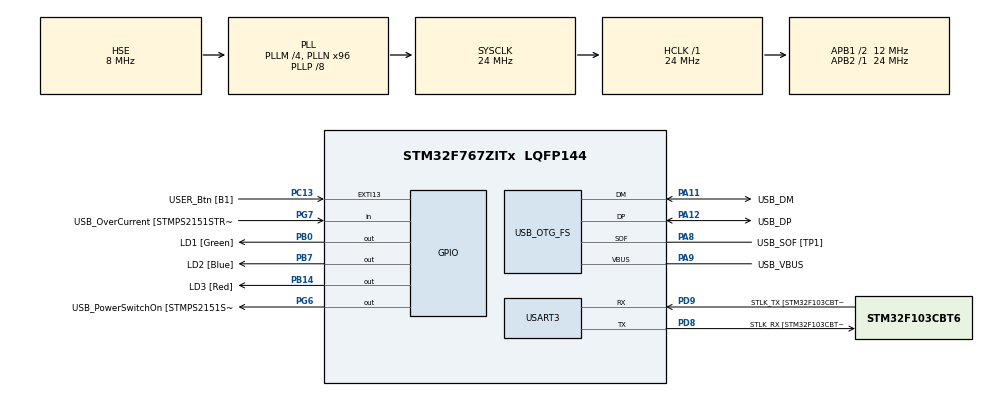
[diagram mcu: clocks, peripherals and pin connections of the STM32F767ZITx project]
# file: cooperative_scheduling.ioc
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Mcu.Family=STM32F7
Mcu.Name=STM32F767ZITx
Mcu.Package=LQFP144
NVIC.PriorityGroup=NVIC_PRIORITYGROUP_4
NVIC.TIM2_IRQn=true\:0\:0\:false\:false\:true\:true\:true\:true
PA1.GPIO_Label=RMII_REF_CLK [LAN8742A-CZ-TR_REFCLK0]
PA1.Signal=ETH_REF_CLK
PA10.GPIO_Label=USB_ID
PA10.Signal=USB_OTG_FS_ID
PA11.GPIO_Label=USB_DM
PA11.Mode=Device_Only
PA11.Signal=USB_OTG_FS_DM
PA12.GPIO_Label=USB_DP
PA12.Mode=Device_Only
PA12.Signal=USB_OTG_FS_DP
PA13.GPIO_Label=TMS
PA13.Mode=Serial_Wire
PA13.Signal=SYS_JTMS-SWDIO
PA14.GPIO_Label=TCK
PA14.Mode=Serial_Wire
PA14.Signal=SYS_JTCK-SWCLK
PA2.GPIO_Label=RMII_MDIO [LAN8742A-CZ-TR_MDIO]
PA2.Signal=ETH_MDIO
PA7.GPIO_Label=RMII_CRS_DV [LAN8742A-CZ-TR_CRS_DV]
PA7.Signal=ETH_CRS_DV
PA8.GPIO_Label=USB_SOF [TP1]
PA8.Mode=Activate_SOF_FS
PA8.Signal=USB_OTG_FS_SOF
PA9.GPIO_Label=USB_VBUS
PA9.Mode=Activate_VBUS
PA9.Signal=USB_OTG_FS_VBUS
PB0.GPIO_Label=LD1 [Green]
PB0.Signal=GPIO_Output
PB13.GPIO_Label=RMII_TXD1 [LAN8742A-CZ-TR_TXD1]
PB13.Signal=ETH_TXD1
PB14.GPIO_Label=LD3 [Red]
PB14.Signal=GPIO_Output
PB3.GPIO_Label=SWO
PB3.Signal=SYS_JTDO-SWO
PB7.GPIO_Label=LD2 [Blue]
PB7.Signal=GPIO_Output
PC1.GPIO_Label=RMII_MDC [LAN8742A-CZ-TR_MDC]
PC1.Signal=ETH_MDC
PC13.GPIO_Label=USER_Btn [B1]
PC13.Signal=GPXTI13
PC14/OSC32_IN.Mode=LSE-External-Oscillator
PC14/OSC32_IN.Signal=RCC_OSC32_IN
PC15/OSC32_OUT.Mode=LSE-External-Oscillator
PC15/OSC32_OUT.Signal=RCC_OSC32_OUT
PC4.GPIO_Label=RMII_RXD0 [LAN8742A-CZ-TR_RXD0]
PC4.Signal=ETH_RXD0
PC5.GPIO_Label=RMII_RXD1 [LAN8742A-CZ-TR_RXD1]
PC5.Signal=ETH_RXD1
PD8.GPIO_Label=STLK_RX [STM32F103CBT6_PA3]
PD8.Mode=Asynchronous
PD8.Signal=USART3_TX
PD9.GPIO_Label=STLK_TX [STM32F103CBT6_PA2]
PD9.Mode=Asynchronous
PD9.Signal=USART3_RX
PG11.GPIO_Label=RMII_TX_EN [LAN8742A-CZ-TR_TXEN]
PG11.Signal=ETH_TX_EN
PG13.GPIO_Label=RMII_TXD0 [LAN8742A-CZ-TR_TXD0]
PG13.Signal=ETH_TXD0
PG6.GPIO_Label=USB_PowerSwitchOn [STMPS2151STR_EN]
PG6.Signal=GPIO_Output
PG7.GPIO_Label=USB_OverCurrent [STMPS2151STR_FAULT]
PG7.Signal=GPIO_Input
PH0/OSC_IN.GPIO_Label=MCO [STM32F103CBT6_PA8]
PH0/OSC_IN.Mode=HSE-External-Clock-Source
PH0/OSC_IN.Signal=RCC_OSC_IN
PH1/OSC_OUT.Mode=HSE-External-Clock-Source
PH1/OSC_OUT.Signal=RCC_OSC_OUT
ProjectManager.HeapSize=0x200
ProjectManager.StackSize=0x400
ProjectManager.TargetToolchain=STM32CubeIDE
RCC.48MHZClocksFreq_Value=24000000
RCC.AHBFreq_Value=24000000
RCC.APB1CLKDivider=RCC_HCLK_DIV2
RCC.APB1Freq_Value=12000000
RCC.APB1TimFreq_Value=24000000
RCC.APB2Freq_Value=24000000
RCC.APB2TimFreq_Value=24000000
RCC.CortexFreq_Value=24000000
RCC.HCLKFreq_Value=24000000
RCC.HSE_VALUE=8000000
RCC.HSI_VALUE=16000000
RCC.PLLM=4
RCC.PLLMUL=RCC_PLL_MUL9
RCC.PLLN=96
RCC.PLLP=RCC_PLLP_DIV8
RCC.PLLQ=4
RCC.PRESCALERUSB=RCC_USBCLKSOURCE_PLL_DIV1_5
RCC.SYSCLKFreq_VALUE=24000000
RCC.SYSCLKSource=RCC_SYSCLKSOURCE_PLLCLK
RCC.SYSCLKSourceVirtual=RCC_SYSCLKSOURCE_PLLCLK
RCC.USBFreq_Value=48000000
RCC.VCOOutputFreq_Value=192000000
TIM2.Period=10
TIM2.Prescaler=1200
USART3.VirtualMode-Asynchronous=VM_ASYNC
USB_OTG_FS.VirtualMode=Device_Only
VP_TIM2_VS_ClockSourceINT.Mode=Internal
board=NUCLEO-F767ZI

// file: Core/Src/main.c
/* USER CODE BEGIN Header */
/**
  ******************************************************************************
  * @file           : main.c
  * @brief          : Main program body
  ******************************************************************************
  * @attention
  *
  * Copyright (c) 2025 STMicroelectronics.
  * All rights reserved.
  *
  * This software is licensed under terms that can be found in the LICENSE file
  * in the root directory of this software component.
  * If no LICENSE file comes with this software, it is provided AS-IS.
  *
  ******************************************************************************
  */
/* USER CODE END Header */
#include "main.h"

/* USER CODE BEGIN Includes */
#include "stdio.h"
/* USER CODE END Includes */

TIM_HandleTypeDef htim2;

UART_HandleTypeDef huart3;

PCD_HandleTypeDef hpcd_USB_OTG_FS;

void SystemClock_Config(void);
static void MX_GPIO_Init(void);
static void MX_USART3_UART_Init(void);
static void MX_USB_OTG_FS_PCD_Init(void);
static void MX_TIM2_Init(void);

/* USER CODE BEGIN 0 */
int task1_elapsedTime;
int task2_elapsedTime;
int task3_elapsedTime;
char s_msg[50];
int msg_len;

/* USER CODE END 0 */

int main(void)
{

  /* MCU Configuration--------------------------------------------------------*/

  /* Reset of all peripherals, Initializes the Flash interface and the Systick. */
  HAL_Init();

  /* Configure the system clock */
  SystemClock_Config();

  /* Initialize all configured peripherals */
  MX_GPIO_Init();
  MX_USART3_UART_Init();
  MX_USB_OTG_FS_PCD_Init();
  MX_TIM2_Init();
  /* USER CODE BEGIN 2 */
  HAL_TIM_Base_Start_IT(&htim2);

  //Define tasks states
  enum state{
	  ready,
	  idle,
	  running
  };

  //Initialize tasks states
  enum state task1_state = ready;
  enum state task2_state = ready;
  enum state task3_state = ready;

  //Create task 1, toggle LED every 500ms

  int task1(int state){ //task returns state
	  switch (state){
	  case ready:
		  task1_elapsedTime = 0;
		  return idle;
	  case idle:
		  if (task1_elapsedTime >= 500){
			  return running;
		  }
		  return idle;
	  case running:
		  HAL_GPIO_TogglePin(GPIOB, GPIO_PIN_14);
		  return ready;
	  }
	  return 0;
  }

  //Create task 2, counts how many times a push button is pressed
  int button_counter = 0;

  int task2(int state){ //task returns state
	  switch (state){
	  case ready:
		  task2_elapsedTime = 0;
		  return idle;
	  case idle:
		  if (task2_elapsedTime >= 3000){
			  return running;
		  }
		  return idle;
	  case running:
		  if (task2_elapsedTime >= 3000){
			  button_counter = 0;
			  return ready;
		  }
	  }
	  return 0;
  }

  //Create task 3, sends message to terminal

  int task3(int state){ //task returns state
	  switch (state){
	  case ready:
		  task3_elapsedTime = 0;
		  return idle;
	  case idle:
		  if (task3_elapsedTime >= 1000){
			  return running;
		  }
		  return idle;
	  case running:
		  msg_len = sprintf(s_msg, "user button pressed %d times \r\n", button_counter);
		  HAL_UART_Transmit(&huart3, s_msg, msg_len, 100);
		  return ready;
	  }
	  return 0;
  }

  /* USER CODE END 2 */

  /* Infinite loop */
  /* USER CODE BEGIN WHILE */
  int button_state = 0;
  while (1)
  {
	  //while loop executes tasks as a cooperative scheduler and it selects task 1 as the highest priority task and task 3 as the lowest priority task
	  task1_state = task1(task1_state);
	  if (task1_state == idle) task2_state = task2(task2_state);
	  if (task1_state == idle && task2_state == idle) task3_state = task3(task3_state);

	  if (HAL_GPIO_ReadPin (GPIOC, GPIO_PIN_13) && button_state == 0){
		  button_state = 1;
	  }

	  if (HAL_GPIO_ReadPin (GPIOC, GPIO_PIN_13) == 0 && button_state == 1){
		  button_state = 0;
		  button_counter++;
	  }
    /* USER CODE END WHILE */

  }
}

void SystemClock_Config(void)
{
  RCC_OscInitTypeDef RCC_OscInitStruct = {0};
  RCC_ClkInitTypeDef RCC_ClkInitStruct = {0};

  /** Configure LSE Drive Capability
  */
  HAL_PWR_EnableBkUpAccess();

  /** Configure the main internal regulator output voltage
  */
  __HAL_RCC_PWR_CLK_ENABLE();
  __HAL_PWR_VOLTAGESCALING_CONFIG(PWR_REGULATOR_VOLTAGE_SCALE3);

  /** Initializes the RCC Oscillators according to the specified parameters
  * in the RCC_OscInitTypeDef structure.
  */
  RCC_OscInitStruct.OscillatorType = RCC_OSCILLATORTYPE_HSE;
  RCC_OscInitStruct.HSEState = RCC_HSE_BYPASS;
  RCC_OscInitStruct.PLL.PLLState = RCC_PLL_ON;
  RCC_OscInitStruct.PLL.PLLSource = RCC_PLLSOURCE_HSE;
  RCC_OscInitStruct.PLL.PLLM = 4;
  RCC_OscInitStruct.PLL.PLLN = 96;
  RCC_OscInitStruct.PLL.PLLP = RCC_PLLP_DIV8;
  RCC_OscInitStruct.PLL.PLLQ = 4;
  RCC_OscInitStruct.PLL.PLLR = 2;
  if (HAL_RCC_OscConfig(&RCC_OscInitStruct) != HAL_OK)
  {
    Error_Handler();
  }

  /** Initializes the CPU, AHB and APB buses clocks
  */
  RCC_ClkInitStruct.ClockType = RCC_CLOCKTYPE_HCLK|RCC_CLOCKTYPE_SYSCLK
                              |RCC_CLOCKTYPE_PCLK1|RCC_CLOCKTYPE_PCLK2;
  RCC_ClkInitStruct.SYSCLKSource = RCC_SYSCLKSOURCE_PLLCLK;
  RCC_ClkInitStruct.AHBCLKDivider = RCC_SYSCLK_DIV1;
  RCC_ClkInitStruct.APB1CLKDivider = RCC_HCLK_DIV2;
  RCC_ClkInitStruct.APB2CLKDivider = RCC_HCLK_DIV1;

  if (HAL_RCC_ClockConfig(&RCC_ClkInitStruct, FLASH_LATENCY_0) != HAL_OK)
  {
    Error_Handler();
  }
}

static void MX_TIM2_Init(void)
{

  TIM_ClockConfigTypeDef sClockSourceConfig = {0};
  TIM_MasterConfigTypeDef sMasterConfig = {0};

  htim2.Instance = TIM2;
  htim2.Init.Prescaler = 2400;
  htim2.Init.CounterMode = TIM_COUNTERMODE_UP;
  htim2.Init.Period = 10;
  htim2.Init.ClockDivision = TIM_CLOCKDIVISION_DIV1;
  htim2.Init.AutoReloadPreload = TIM_AUTORELOAD_PRELOAD_DISABLE;
  if (HAL_TIM_Base_Init(&htim2) != HAL_OK)
  {
    Error_Handler();
  }
  sClockSourceConfig.ClockSource = TIM_CLOCKSOURCE_INTERNAL;
  if (HAL_TIM_ConfigClockSource(&htim2, &sClockSourceConfig) != HAL_OK)
  {
    Error_Handler();
  }
  sMasterConfig.MasterOutputTrigger = TIM_TRGO_RESET;
  sMasterConfig.MasterSlaveMode = TIM_MASTERSLAVEMODE_DISABLE;
  if (HAL_TIMEx_MasterConfigSynchronization(&htim2, &sMasterConfig) != HAL_OK)
  {
    Error_Handler();
  }

}

static void MX_USART3_UART_Init(void)
{

  huart3.Instance = USART3;
  huart3.Init.BaudRate = 115200;
  huart3.Init.WordLength = UART_WORDLENGTH_8B;
  huart3.Init.StopBits = UART_STOPBITS_1;
  huart3.Init.Parity = UART_PARITY_NONE;
  huart3.Init.Mode = UART_MODE_TX_RX;
  huart3.Init.HwFlowCtl = UART_HWCONTROL_NONE;
  huart3.Init.OverSampling = UART_OVERSAMPLING_16;
  huart3.Init.OneBitSampling = UART_ONE_BIT_SAMPLE_DISABLE;
  huart3.AdvancedInit.AdvFeatureInit = UART_ADVFEATURE_NO_INIT;
  if (HAL_UART_Init(&huart3) != HAL_OK)
  {
    Error_Handler();
  }

}

static void MX_USB_OTG_FS_PCD_Init(void)
{

  hpcd_USB_OTG_FS.Instance = USB_OTG_FS;
  hpcd_USB_OTG_FS.Init.dev_endpoints = 6;
  hpcd_USB_OTG_FS.Init.speed = PCD_SPEED_FULL;
  hpcd_USB_OTG_FS.Init.dma_enable = DISABLE;
  hpcd_USB_OTG_FS.Init.phy_itface = PCD_PHY_EMBEDDED;
  hpcd_USB_OTG_FS.Init.Sof_enable = ENABLE;
  hpcd_USB_OTG_FS.Init.low_power_enable = DISABLE;
  hpcd_USB_OTG_FS.Init.lpm_enable = DISABLE;
  hpcd_USB_OTG_FS.Init.vbus_sensing_enable = ENABLE;
  hpcd_USB_OTG_FS.Init.use_dedicated_ep1 = DISABLE;
  if (HAL_PCD_Init(&hpcd_USB_OTG_FS) != HAL_OK)
  {
    Error_Handler();
  }

}

static void MX_GPIO_Init(void)
{
  GPIO_InitTypeDef GPIO_InitStruct = {0};

  /* GPIO Ports Clock Enable */
  __HAL_RCC_GPIOC_CLK_ENABLE();
  __HAL_RCC_GPIOH_CLK_ENABLE();
  __HAL_RCC_GPIOA_CLK_ENABLE();
  __HAL_RCC_GPIOB_CLK_ENABLE();
  __HAL_RCC_GPIOD_CLK_ENABLE();
  __HAL_RCC_GPIOG_CLK_ENABLE();

  /*Configure GPIO pin Output Level */
  HAL_GPIO_WritePin(GPIOB, LD1_Pin|LD3_Pin|LD2_Pin, GPIO_PIN_RESET);

  /*Configure GPIO pin Output Level */
  HAL_GPIO_WritePin(USB_PowerSwitchOn_GPIO_Port, USB_PowerSwitchOn_Pin, GPIO_PIN_RESET);

  /*Configure GPIO pin : USER_Btn_Pin */
  GPIO_InitStruct.Pin = USER_Btn_Pin;
  GPIO_InitStruct.Mode = GPIO_MODE_IT_RISING;
  GPIO_InitStruct.Pull = GPIO_NOPULL;
  HAL_GPIO_Init(USER_Btn_GPIO_Port, &GPIO_InitStruct);

  /*Configure GPIO pins : RMII_MDC_Pin RMII_RXD0_Pin RMII_RXD1_Pin */
  GPIO_InitStruct.Pin = RMII_MDC_Pin|RMII_RXD0_Pin|RMII_RXD1_Pin;
  GPIO_InitStruct.Mode = GPIO_MODE_AF_PP;
  GPIO_InitStruct.Pull = GPIO_NOPULL;
  GPIO_InitStruct.Speed = GPIO_SPEED_FREQ_VERY_HIGH;
  GPIO_InitStruct.Alternate = GPIO_AF11_ETH;
  HAL_GPIO_Init(GPIOC, &GPIO_InitStruct);

  /*Configure GPIO pins : RMII_REF_CLK_Pin RMII_MDIO_Pin RMII_CRS_DV_Pin */
  GPIO_InitStruct.Pin = RMII_REF_CLK_Pin|RMII_MDIO_Pin|RMII_CRS_DV_Pin;
  GPIO_InitStruct.Mode = GPIO_MODE_AF_PP;
  GPIO_InitStruct.Pull = GPIO_NOPULL;
  GPIO_InitStruct.Speed = GPIO_SPEED_FREQ_VERY_HIGH;
  GPIO_InitStruct.Alternate = GPIO_AF11_ETH;
  HAL_GPIO_Init(GPIOA, &GPIO_InitStruct);

  /*Configure GPIO pins : LD1_Pin LD3_Pin LD2_Pin */
  GPIO_InitStruct.Pin = LD1_Pin|LD3_Pin|LD2_Pin;
  GPIO_InitStruct.Mode = GPIO_MODE_OUTPUT_PP;
  GPIO_InitStruct.Pull = GPIO_NOPULL;
  GPIO_InitStruct.Speed = GPIO_SPEED_FREQ_LOW;
  HAL_GPIO_Init(GPIOB, &GPIO_InitStruct);

  /*Configure GPIO pin : RMII_TXD1_Pin */
  GPIO_InitStruct.Pin = RMII_TXD1_Pin;
  GPIO_InitStruct.Mode = GPIO_MODE_AF_PP;
  GPIO_InitStruct.Pull = GPIO_NOPULL;
  GPIO_InitStruct.Speed = GPIO_SPEED_FREQ_VERY_HIGH;
  GPIO_InitStruct.Alternate = GPIO_AF11_ETH;
  HAL_GPIO_Init(RMII_TXD1_GPIO_Port, &GPIO_InitStruct);

  /*Configure GPIO pin : USB_PowerSwitchOn_Pin */
  GPIO_InitStruct.Pin = USB_PowerSwitchOn_Pin;
  GPIO_InitStruct.Mode = GPIO_MODE_OUTPUT_PP;
  GPIO_InitStruct.Pull = GPIO_NOPULL;
  GPIO_InitStruct.Speed = GPIO_SPEED_FREQ_LOW;
  HAL_GPIO_Init(USB_PowerSwitchOn_GPIO_Port, &GPIO_InitStruct);

  /*Configure GPIO pin : USB_OverCurrent_Pin */
  GPIO_InitStruct.Pin = USB_OverCurrent_Pin;
  GPIO_InitStruct.Mode = GPIO_MODE_INPUT;
  GPIO_InitStruct.Pull = GPIO_NOPULL;
  HAL_GPIO_Init(USB_OverCurrent_GPIO_Port, &GPIO_InitStruct);

  /*Configure GPIO pins : RMII_TX_EN_Pin RMII_TXD0_Pin */
  GPIO_InitStruct.Pin = RMII_TX_EN_Pin|RMII_TXD0_Pin;
  GPIO_InitStruct.Mode = GPIO_MODE_AF_PP;
  GPIO_InitStruct.Pull = GPIO_NOPULL;
  GPIO_InitStruct.Speed = GPIO_SPEED_FREQ_VERY_HIGH;
  GPIO_InitStruct.Alternate = GPIO_AF11_ETH;
  HAL_GPIO_Init(GPIOG, &GPIO_InitStruct);

}

/* USER CODE BEGIN 4 */
void HAL_TIM_PeriodElapsedCallback(TIM_HandleTypeDef *htim){
	if(htim == &htim2){ //Timer 2 must be configured to interrupt every 1ms

		//Increment all tasks individual elapsed time register
		task1_elapsedTime++;
		task2_elapsedTime++;
		task3_elapsedTime++;

	}
}
/* USER CODE END 4 */

void Error_Handler(void)
{
  __disable_irq();
  while (1)
  {
  }
}
